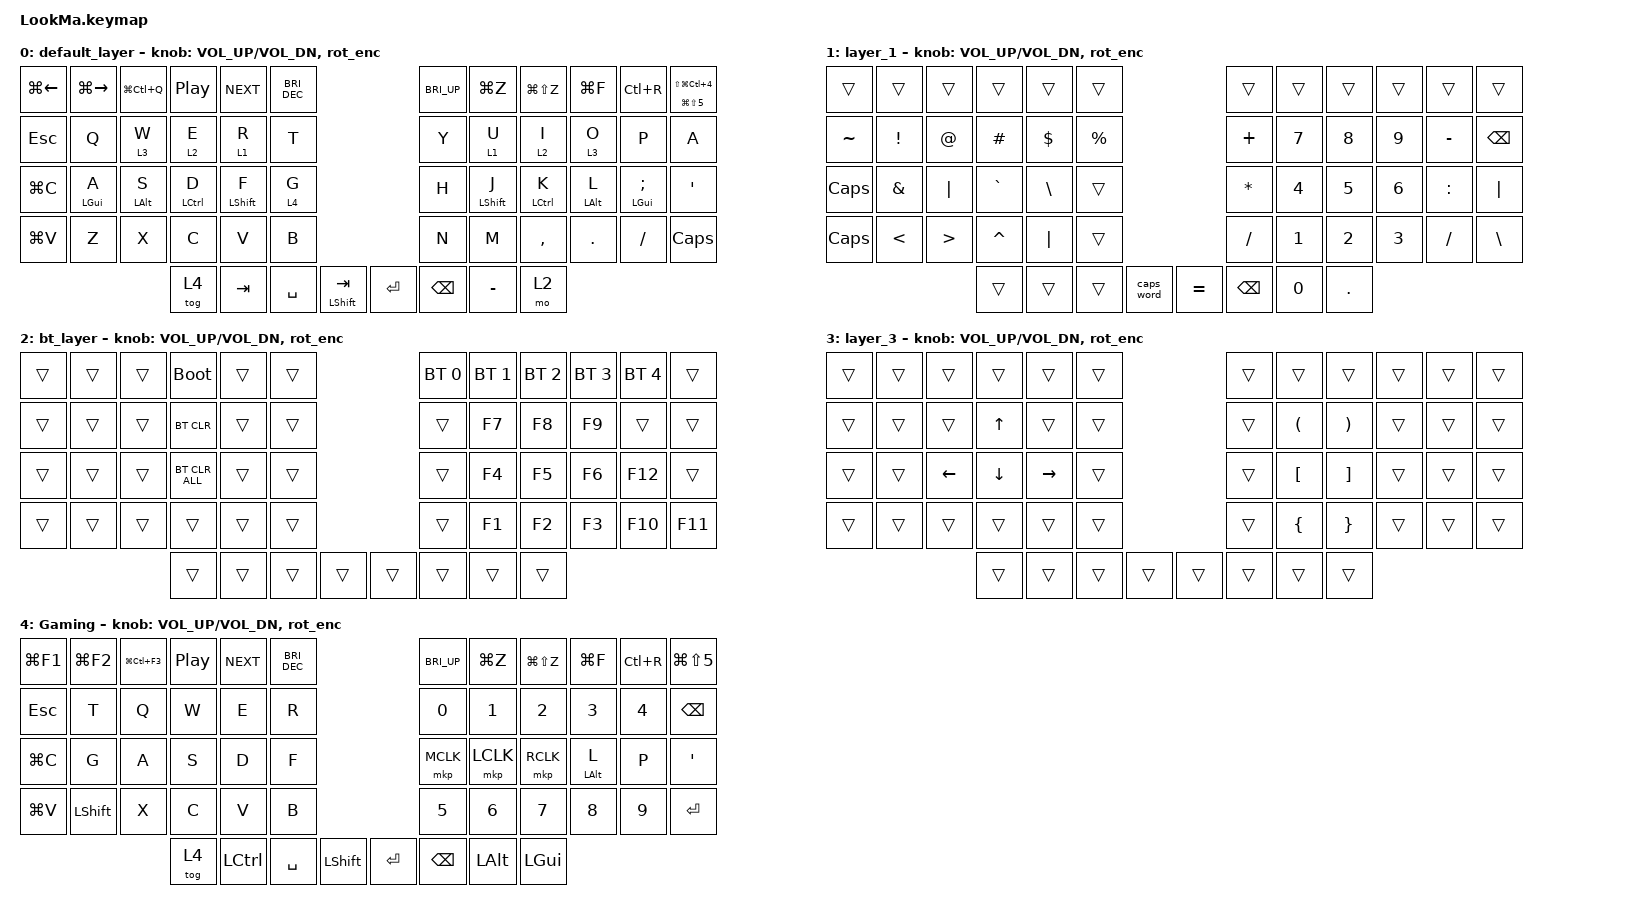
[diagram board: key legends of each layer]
#include <behaviors.dtsi>
#include <dt-bindings/zmk/bt.h>
#include <dt-bindings/zmk/keys.h>
#include <dt-bindings/zmk/pointing.h>

/ {
    behaviors {
        mt: mod_tap {
            compatible = "zmk,behavior-hold-tap";
            #binding-cells = <2>;
            flavor = "tap-preferred";
            tapping-term-ms = <200>;
            bindings = <&kp>, <&kp>;

            display-name = "Mod-Tap";
        };

        mkg: hold_mouse_key_press_tap_toggle {
            compatible = "zmk,behavior-hold-tap";
            #binding-cells = <2>;
            tapping-term-ms = <80>;
            quick-tap-ms = <80>;
            flavor = "tap-preferred";
            bindings = <&mkp>, <&tog>;
        };

        ec_s: mouse_scroll {
            compatible = "zmk,behavior-input-two-axis";
            #binding-cells = <1>;
            trigger-period-ms = <4>; // slow down for OTA, default is 3ms
            x-input-code = <INPUT_REL_HWHEEL>;
            y-input-code = <INPUT_REL_WHEEL>;
            time-to-max-speed-ms = <177>;
            acceleration-exponent = <0>;
        };

        rot_enc: sensor_rotate {
            compatible = "zmk,behavior-sensor-rotate";
            #sensor-binding-cells = <0>;
            bindings = <&ec_s MOVE_Y(72)>, <&ec_s MOVE_Y(-72)>;

            tap-ms = <40>;
        };
    };

    keymap {
        compatible = "zmk,keymap";

        default_layer {
            bindings = <
&kp LG(LEFT_ARROW)  &kp LG(RIGHT_ARROW)  &kp LG(LC(Q))   &kp C_PLAY_PAUSE  &kp C_NEXT        &kp C_BRI_DEC                                         &kp C_BRI_UP   &kp LG(Z)         &kp LG(LS(Z))  &kp LG(F)       &kp LC(R)      &mt LG(LS(N5)) LS(LG(LC(NUMBER_4)))
&kp ESCAPE          &kp Q                &lt 3 W         &lt 2 E           &lt 1 R           &kp T                                                 &kp Y          &lt 1 U           &lt 2 I        &lt 3 O         &kp P          &kp A
&kp LG(C)           &mt LGUI A           &mt LEFT_ALT S  &mt LCTRL D       &mt LEFT_SHIFT F  &lt 4 G                                               &kp H          &mt LEFT_SHIFT J  &mt LCTRL K    &mt LEFT_ALT L  &mt LGUI SEMI  &kp SQT
&kp LG(V)           &kp Z                &kp X           &kp C             &kp V             &kp B                                                 &kp N          &kp M             &kp COMMA      &kp DOT         &kp SLASH      &kp CAPSLOCK
                                                         &tog 4            &kp TAB           &kp SPACE        &mt LEFT_SHIFT TAB      &kp ENTER    &kp BACKSPACE  &kp MINUS         &mo 2
            >;

            sensor-bindings = <&inc_dec_kp C_VOL_UP C_VOL_DN>, <&rot_enc>;
        };

        layer_1 {
            bindings = <
&trans        &trans         &trans            &trans     &trans         &trans                                    &trans         &trans        &trans        &trans        &trans     &trans
&kp TILDE     &kp EXCL       &kp AT            &kp HASH   &kp DOLLAR     &kp PRCNT                                 &kp PLUS       &kp N7        &kp N8        &kp N9        &kp MINUS  &kp BACKSPACE
&kp CAPS      &kp AMPERSAND  &kp PIPE          &kp GRAVE  &kp BACKSLASH  &trans                                    &kp ASTERISK   &kp NUMBER_4  &kp N5        &kp NUMBER_6  &kp COLON  &kp PIPE
&kp CAPSLOCK  &kp LESS_THAN  &kp GREATER_THAN  &kp CARET  &kp PIPE       &trans                                    &kp SLASH      &kp NUMBER_1  &kp NUMBER_2  &kp NUMBER_3  &kp SLASH  &kp BSLH
                                               &trans     &trans         &trans       &caps_word      &kp EQUAL    &kp BACKSPACE  &kp N0        &kp PERIOD
            >;

            sensor-bindings = <&inc_dec_kp C_VOL_UP C_VOL_DN>, <&rot_enc>;
        };

        bt_layer {
            bindings = <
&trans  &trans  &trans  &bootloader     &trans  &trans                          &bt BT_SEL 0  &bt BT_SEL 1  &bt BT_SEL 2  &bt BT_SEL 3  &bt BT_SEL 4  &trans
&trans  &trans  &trans  &bt BT_CLR      &trans  &trans                          &trans        &kp F7        &kp F8        &kp F9        &trans        &trans
&trans  &trans  &trans  &bt BT_CLR_ALL  &trans  &trans                          &trans        &kp F4        &kp F5        &kp F6        &kp F12       &trans
&trans  &trans  &trans  &trans          &trans  &trans                          &trans        &kp F1        &kp F2        &kp F3        &kp F10       &kp F11
                        &trans          &trans  &trans    &trans      &trans    &trans        &trans        &trans
            >;

            sensor-bindings = <&inc_dec_kp C_VOL_UP C_VOL_DN>, <&rot_enc>;
        };

        layer_3 {
            bindings = <
&trans  &trans  &trans          &trans          &trans           &trans                          &trans  &trans                &trans                 &trans  &trans  &trans
&trans  &trans  &trans          &kp UP_ARROW    &trans           &trans                          &trans  &kp LEFT_PARENTHESIS  &kp RIGHT_PARENTHESIS  &trans  &trans  &trans
&trans  &trans  &kp LEFT_ARROW  &kp DOWN_ARROW  &kp RIGHT_ARROW  &trans                          &trans  &kp LEFT_BRACKET      &kp RIGHT_BRACKET      &trans  &trans  &trans
&trans  &trans  &trans          &trans          &trans           &trans                          &trans  &kp LEFT_BRACE        &kp RIGHT_BRACE        &trans  &trans  &trans
                                &trans          &trans           &trans    &trans      &trans    &trans  &trans                &trans
            >;

            sensor-bindings = <&inc_dec_kp C_VOL_UP C_VOL_DN>, <&rot_enc>;
        };

        Gaming {
            bindings = <
&kp LG(F1)  &kp LG(F2)      &kp LG(LC(F3))  &kp C_PLAY_PAUSE  &kp C_NEXT  &kp C_BRI_DEC                                     &kp C_BRI_UP   &kp LG(Z)     &kp LG(LS(Z))  &kp LG(F)       &kp LC(R)     &kp LG(LS(N5))
&kp ESCAPE  &kp T           &kp Q           &kp W             &kp E       &kp R                                             &kp N0         &kp NUMBER_1  &kp NUMBER_2   &kp NUMBER_3    &kp NUMBER_4  &kp BACKSPACE
&kp LG(C)   &kp G           &kp A           &kp S             &kp D       &kp F                                             &mkp MCLK      &mkp LCLK     &mkp RCLK      &mt LEFT_ALT L  &kp P         &kp SQT
&kp LG(V)   &kp LEFT_SHIFT  &kp X           &kp C             &kp V       &kp B                                             &kp N5         &kp NUMBER_6  &kp N7         &kp N8          &kp N9        &kp RET
                                            &tog 4            &kp LCTRL   &kp SPACE        &kp LEFT_SHIFT      &kp ENTER    &kp BACKSPACE  &kp LEFT_ALT  &kp LGUI
            >;

            sensor-bindings = <&inc_dec_kp C_VOL_UP C_VOL_DN>, <&rot_enc>;
        };
    };
};
